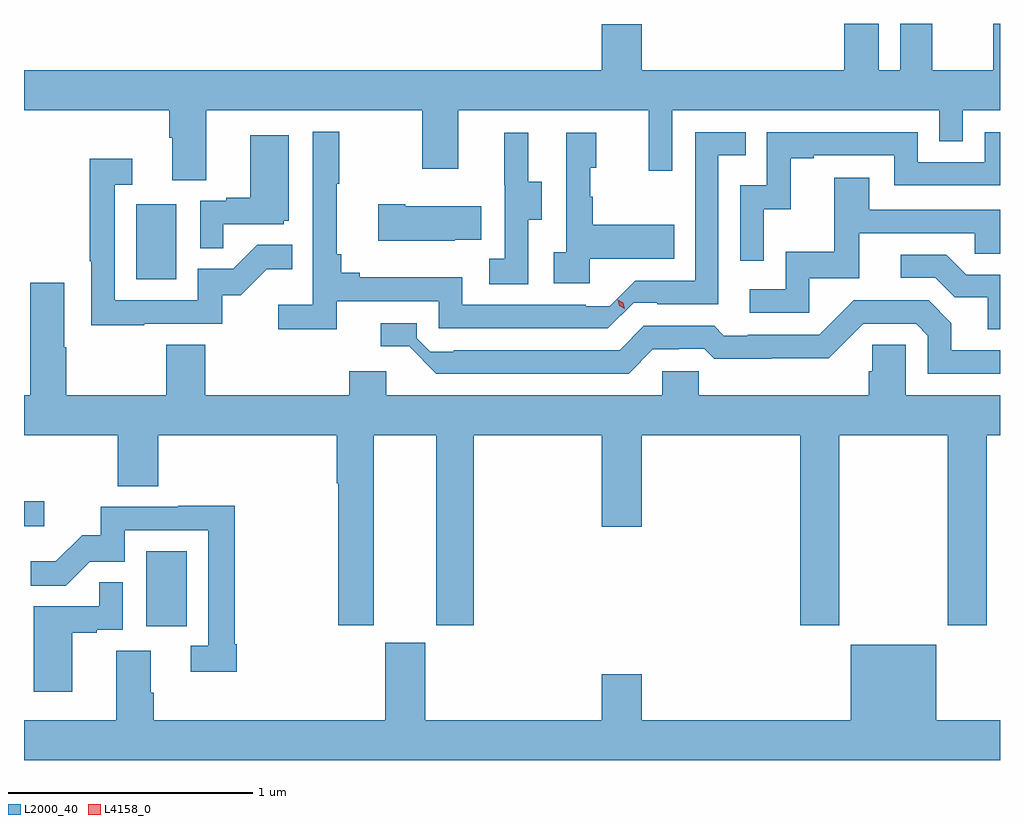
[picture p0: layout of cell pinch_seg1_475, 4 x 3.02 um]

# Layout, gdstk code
import gdstk
lib = gdstk.Library(unit=1e-6, precision=1e-09)
def R(c, l, rs):  # rectangles x0, y0, x1, y1
    for r in rs: c.add(gdstk.rectangle(r[:2], r[2:], *l))
def P(c, l, *ps):  # polygons
    for p in ps: c.add(gdstk.Polygon(p, *l))
L2000_40 = (2000, 40)
L4158_0 = (4158, 0)

pinch_seg1_475 = lib.new_cell('pinch_seg1_475')
R(pinch_seg1_475, L2000_40, [(1086.218,524.31,1086.382,524.617), (1085.716,524.72,1085.8,524.822), (1086.176,525.732,1086.34,526.039)])
P(pinch_seg1_475, L2000_40, [(1089.468,526.297),(1089.564,526.297),(1089.564,526.424),(1089.716,526.424),(1089.716,526.779),(1089.689,526.779),(1089.689,526.588),(1089.439,526.588),(1089.439,526.779),(1089.308,526.779),(1089.308,526.588),(1089.22,526.588),(1089.22,526.779),(1089.077,526.779),(1089.077,526.588),(1088.248,526.588),(1088.248,526.777),(1088.084,526.777),(1088.084,526.588),(1085.716,526.588),(1085.716,526.424),(1086.311,526.424),(1086.311,526.312),(1086.323,526.312),(1086.323,526.138),(1086.463,526.138),(1086.463,526.424),(1087.348,526.424),(1087.348,526.185),(1087.495,526.185),(1087.495,526.424),(1088.276,526.424),(1088.276,526.176),(1088.373,526.176),(1088.373,526.424),(1089.468,526.424)],
  [(1086.998,525.642),(1087.416,525.642),(1087.416,525.531),(1088.109,525.531),(1088.214,525.636),(1088.311,525.636),(1088.311,525.63),(1088.562,525.63),(1088.562,526.239),(1088.675,526.239),(1088.675,526.335),(1088.466,526.335),(1088.466,525.726),(1088.221,525.726),(1088.116,525.621),(1088.019,525.621),(1088.019,525.627),(1087.512,525.627),(1087.512,525.739),(1087.093,525.739),(1087.093,525.758),(1087.016,525.758),(1087.016,525.835),(1086.997,525.835),(1086.997,526.123),(1087.009,526.123),(1087.009,526.336),(1086.9,526.336),(1086.9,525.628),(1086.759,525.628),(1086.759,525.526),(1086.998,525.526)],
  [(1088.748,526.019),(1088.858,526.019),(1088.858,526.227),(1088.953,526.227),(1088.953,526.239),(1089.282,526.239),(1089.282,526.116),(1089.716,526.116),(1089.716,526.335),(1089.654,526.335),(1089.654,526.212),(1089.378,526.212),(1089.378,526.335),(1088.76,526.335),(1088.76,526.116),(1088.652,526.116),(1088.652,525.807),(1088.748,525.807)],
  [(1088.034,525.815),(1088.381,525.815),(1088.381,525.955),(1088.047,525.955),(1088.047,526.07),(1088.037,526.07),(1088.037,526.188),(1088.062,526.188),(1088.062,526.333),(1087.938,526.333),(1087.938,525.842),(1087.887,525.842),(1087.887,525.716),(1088.034,525.716)],
  [(1087.782,525.976),(1087.837,525.976),(1087.837,526.131),(1087.783,526.131),(1087.783,526.333),(1087.685,526.333),(1087.685,526.119),(1087.686,526.119),(1087.686,525.815),(1087.623,525.815),(1087.623,525.712),(1087.782,525.712)],
  [(1086.533,525.957),(1086.78,525.957),(1086.78,525.972),(1086.802,525.972),(1086.802,526.321),(1086.644,526.321),(1086.644,526.066),(1086.545,526.066),(1086.545,526.053),(1086.438,526.053),(1086.438,525.859),(1086.533,525.859)],
  [(1086.209,525.549),(1086.528,525.549),(1086.528,525.666),(1086.604,525.666),(1086.711,525.773),(1086.815,525.773),(1086.815,525.872),(1086.671,525.872),(1086.573,525.774),(1086.429,525.774),(1086.429,525.645),(1086.087,525.645),(1086.087,526.119),(1086.16,526.119),(1086.16,526.225),(1085.986,526.225),(1085.986,525.805),(1085.991,525.805),(1085.991,525.544),(1086.209,525.544)],
  [(1088.934,525.735),(1089.139,525.735),(1089.139,525.921),(1089.613,525.921),(1089.613,525.837),(1089.716,525.837),(1089.716,526.017),(1089.181,526.017),(1089.181,526.147),(1089.037,526.147),(1089.037,525.844),(1088.838,525.844),(1088.838,525.69),(1088.691,525.69),(1088.691,525.594),(1088.934,525.594)],
  [(1087.481,525.893),(1087.589,525.893),(1087.589,526.03),(1087.279,526.03),(1087.279,526.038),(1087.167,526.038),(1087.167,525.89),(1087.481,525.89)],
  [(1089.716,525.75),(1089.577,525.75),(1089.496,525.831),(1089.309,525.831),(1089.309,525.738),(1089.45,525.738),(1089.53,525.658),(1089.665,525.658),(1089.665,525.526),(1089.716,525.526)],
  [(1086.298,525.464),(1086.298,525.256),(1085.889,525.256),(1085.889,525.452),(1085.881,525.452),(1085.881,525.718),(1085.741,525.718),(1085.741,525.256),(1085.716,525.256),(1085.716,525.092),(1086.101,525.092),(1086.101,524.884),(1086.266,524.884),(1086.266,525.092),(1086.998,525.092),(1086.998,524.896),(1087.003,524.896),(1087.003,524.313),(1087.15,524.313),(1087.15,525.092),(1087.406,525.092),(1087.406,524.313),(1087.559,524.313),(1087.559,525.092),(1088.084,525.092),(1088.084,524.718),(1088.248,524.718),(1088.248,525.092),(1088.897,525.092),(1088.897,524.313),(1089.057,524.313),(1089.057,525.092),(1089.502,525.092),(1089.502,524.313),(1089.662,524.313),(1089.662,525.092),(1089.716,525.092),(1089.716,525.256),(1089.33,525.256),(1089.33,525.464),(1089.193,525.464),(1089.193,525.354),(1089.179,525.354),(1089.179,525.256),(1088.481,525.256),(1088.481,525.354),(1088.331,525.354),(1088.331,525.256),(1087.201,525.256),(1087.201,525.355),(1087.049,525.355),(1087.049,525.256),(1086.458,525.256),(1086.458,525.464)],
  [(1088.293,525.444),(1088.4,525.444),(1088.4,525.447),(1088.503,525.447),(1088.545,525.405),(1088.778,525.405),(1088.778,525.407),(1089.014,525.407),(1089.156,525.549),(1089.372,525.549),(1089.42,525.501),(1089.42,525.345),(1089.716,525.345),(1089.716,525.441),(1089.517,525.441),(1089.517,525.551),(1089.423,525.645),(1089.117,525.645),(1088.976,525.504),(1088.683,525.504),(1088.683,525.501),(1088.584,525.501),(1088.545,525.54),(1088.256,525.54),(1088.157,525.441),(1087.477,525.441),(1087.477,525.435),(1087.38,525.435),(1087.326,525.489),(1087.326,525.552),(1087.179,525.552),(1087.179,525.456),(1087.294,525.456),(1087.405,525.345),(1088.194,525.345)],
  [(1086.587,524.236),(1086.58,524.236),(1086.58,524.804),(1086.349,524.804),(1086.349,524.799),(1086.031,524.799),(1086.031,524.682),(1085.954,524.682),(1085.847,524.575),(1085.743,524.575),(1085.743,524.476),(1085.887,524.476),(1085.985,524.574),(1086.129,524.574),(1086.129,524.703),(1086.471,524.703),(1086.471,524.229),(1086.399,524.229),(1086.399,524.124),(1086.587,524.124)],
  [(1085.914,524.283),(1086.014,524.283),(1086.014,524.295),(1086.12,524.295),(1086.12,524.489),(1086.025,524.489),(1086.025,524.391),(1085.756,524.391),(1085.756,524.04),(1085.914,524.04)],
  [(1089.716,523.924),(1089.454,523.924),(1089.454,524.233),(1089.104,524.233),(1089.104,523.924),(1088.248,523.924),(1088.248,524.113),(1088.084,524.113),(1088.084,523.924),(1087.36,523.924),(1087.36,524.241),(1087.196,524.241),(1087.196,523.924),(1086.248,523.924),(1086.248,524.036),(1086.235,524.036),(1086.235,524.21),(1086.095,524.21),(1086.095,523.924),(1085.716,523.924),(1085.716,523.76),(1089.716,523.76)])
P(pinch_seg1_475, L4158_0, [(1088.179,525.61),(1088.156,525.622),(1088.149,525.647),(1088.149,525.647),(1088.149,525.647),(1088.172,525.635),(1088.179,525.61),(1088.179,525.61)])

lib.write_gds('pinch_seg1_475.gds')
